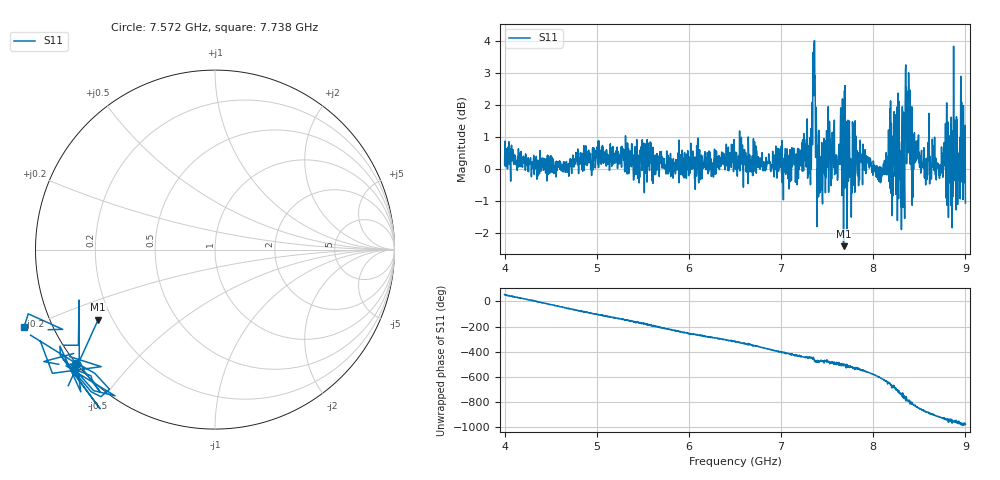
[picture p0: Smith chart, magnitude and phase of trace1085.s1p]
! Created with skrf 1.8.0 (http://scikit-rf.org).
# Hz S RI R 50.0
!freq ReS11 ImS11
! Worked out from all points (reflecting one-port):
!   1601 points, 4 GHz to 9 GHz, reference 50 ohm
!   lowest |S11| = -2.4 dB at 7.678 GHz (marker M1), VSWR 7.29, Z = 7.38 - j13.6 ohm
!   phase of S11 starts at 54 deg and turns -1031 deg over the sweep
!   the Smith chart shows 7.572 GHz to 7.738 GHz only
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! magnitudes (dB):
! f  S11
! 4 GHz  0.1
! 4.625 GHz  0.0
! 5.25 GHz  0.2
! 5.875 GHz  0.2
! 6.5 GHz  0.4
! 7.125 GHz  0.4
! 7.306 GHz  0.7
! 7.359 GHz  2.6
! 7.412 GHz  -0.6
! 7.509 GHz  0.1
! 7.606 GHz  0.2
! 7.65 GHz  1.6
! 7.678 GHz  -2.4
! 7.75 GHz  -0.3
! 8.075 GHz  -0.2
! 8.253 GHz  -0.1
! 8.316 GHz  1.9
! 8.334 GHz  0.0
! 8.347 GHz  1.9
! 8.375 GHz  1.1
! 8.425 GHz  0.0
! 8.562 GHz  -0.3
! 8.788 GHz  -0.9
! 8.841 GHz  1.4
! 8.884 GHz  1.5
! 8.919 GHz  -0.2
! 8.972 GHz  0.8
! 9 GHz  -1.1
